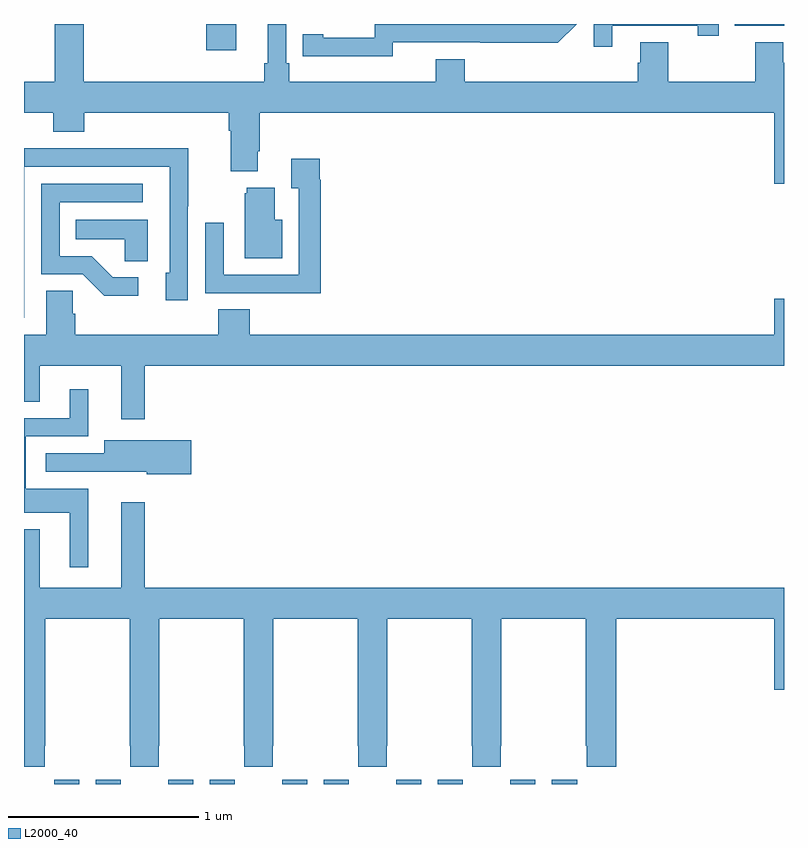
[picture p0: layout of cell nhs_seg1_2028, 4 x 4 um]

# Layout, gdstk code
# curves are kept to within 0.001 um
import gdstk
lib = gdstk.Library(unit=1e-6, precision=1e-09)
def R(c, l, rs):  # rectangles x0, y0, x1, y1
    for r in rs: c.add(gdstk.rectangle(r[:2], r[2:], *l))
def P(c, l, *ps):  # polygons
    for p in ps: c.add(gdstk.Polygon(p, *l))
L2000_40 = (2000, 40)

nhs_seg1_2028 = lib.new_cell('nhs_seg1_2028')
R(nhs_seg1_2028, L2000_40, [(221.16,548.199,221.29,548.221), (221.378,548.199,221.508,548.221), (221.76,548.199,221.89,548.221), (221.978,548.199,222.108,548.221), (222.36,548.199,222.49,548.221), (222.578,548.199,222.708,548.221), (222.96,548.199,223.09,548.221), (223.178,548.199,223.308,548.221), (223.56,548.199,223.69,548.221), (223.778,548.199,223.912,548.221), (221.96,552.06,222.118,552.199), (224.742,552.189,225,552.199)])
P(nhs_seg1_2028, L2000_40, [(225,551.994),(224.995,551.994),(224.995,552.104),(224.848,552.104),(224.848,551.896),(224.391,551.896),(224.391,552.104),(224.243,552.104),(224.243,551.994),(224.231,551.994),(224.231,551.896),(223.319,551.896),(223.319,552.013),(223.166,552.013),(223.166,551.896),(222.395,551.896),(222.395,551.992),(222.381,551.992),(222.381,552.199),(222.284,552.199),(222.284,551.992),(222.265,551.992),(222.265,551.896),(221.315,551.896),(221.315,552.199),(221.162,552.199),(221.162,551.896),(221,551.896),(221,551.732),(221.153,551.732),(221.153,551.633),(221.318,551.633),(221.318,551.732),(222.077,551.732),(222.077,551.636),(222.089,551.636),(222.089,551.423),(222.229,551.423),(222.229,551.53),(222.242,551.53),(222.242,551.732),(224.948,551.732),(224.948,551.358),(225,551.358)],
  [(222.942,552.102),(223.81,552.101),(223.908,552.199),(222.846,552.198),(222.846,552.126),(222.574,552.126),(222.574,552.146),(222.466,552.146),(222.466,552.03),(222.942,552.029)],
  [(224.095,552.189),(224.546,552.189),(224.546,552.138),(224.657,552.138),(224.657,552.199),(223.998,552.199),(223.998,552.078),(224.095,552.078)],
  [(221.001,551.448),(221.766,551.448),(221.766,550.89),(221.747,550.89),(221.747,550.746),(221.862,550.746),(221.862,551.239),(221.865,551.239),(221.865,551.546),(221.401,551.546),(221.401,551.544),(221,551.544),(221,550.653),(221.001,550.653)],
  [(222.563,551.378),(222.556,551.378),(222.556,551.491),(222.407,551.491),(222.407,551.335),(222.447,551.335),(222.447,550.878),(222.051,550.878),(222.051,551.152),(221.955,551.152),(221.955,550.782),(222.271,550.782),(222.271,550.781),(222.563,550.781)],
  [(221.602,550.866),(221.467,550.866),(221.356,550.977),(221.187,550.977),(221.187,551.262),(221.626,551.262),(221.626,551.358),(221.091,551.358),(221.091,550.881),(221.31,550.881),(221.423,550.769),(221.602,550.769)],
  [(222.358,551.17),(222.319,551.17),(222.319,551.338),(222.173,551.338),(222.173,551.307),(222.161,551.307),(222.161,550.967),(222.358,550.967)],
  [(221.65,551.17),(221.272,551.17),(221.272,551.066),(221.529,551.066),(221.529,550.951),(221.65,550.951)],
  [(221.635,550.4),(225,550.4),(225,550.753),(224.948,550.753),(224.948,550.564),(222.188,550.564),(222.188,550.697),(222.023,550.697),(222.023,550.564),(221.27,550.564),(221.27,550.673),(221.256,550.673),(221.256,550.796),(221.117,550.796),(221.117,550.564),(221,550.564),(221,550.21),(221.083,550.21),(221.083,550.4),(221.513,550.4),(221.513,550.119),(221.635,550.119)],
  [(221.338,549.754),(221.008,549.754),(221.008,550.029),(221.338,550.029),(221.338,550.276),(221.24,550.276),(221.24,550.125),(221,550.125),(221,549.626),(221.24,549.626),(221.24,549.339),(221.338,549.339)],
  [(221.881,550.008),(221.423,550.008),(221.423,549.939),(221.115,549.939),(221.115,549.843),(221.427,549.843),(221.427,549.842),(221.646,549.842),(221.646,549.83),(221.881,549.83)],
  [(221.635,549.682),(221.513,549.682),(221.513,549.232),(221.083,549.232),(221.083,549.541),(221,549.541),(221,548.289),(221.109,548.289),(221.109,548.401),(221.112,548.401),(221.112,549.068),(221.557,549.068),(221.557,548.401),(221.559,548.401),(221.559,548.289),(221.709,548.289),(221.709,548.401),(221.712,548.401),(221.712,549.068),(222.157,549.068),(222.157,548.401),(222.159,548.401),(222.159,548.289),(222.309,548.289),(222.309,548.401),(222.312,548.401),(222.312,549.068),(222.757,549.068),(222.757,548.401),(222.759,548.401),(222.759,548.289),(222.909,548.289),(222.909,548.401),(222.912,548.401),(222.912,549.068),(223.357,549.068),(223.357,548.401),(223.359,548.401),(223.359,548.289),(223.509,548.289),(223.509,548.401),(223.512,548.401),(223.512,549.068),(223.957,549.068),(223.957,548.401),(223.963,548.401),(223.963,548.289),(224.117,548.289),(224.117,549.068),(224.948,549.068),(224.948,548.694),(225,548.694),(225,549.232),(221.635,549.232)])

lib.write_gds('nhs_seg1_2028.gds')
